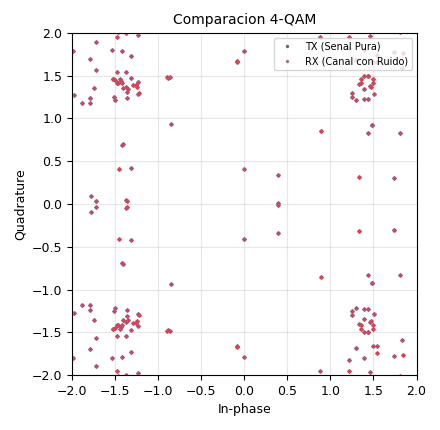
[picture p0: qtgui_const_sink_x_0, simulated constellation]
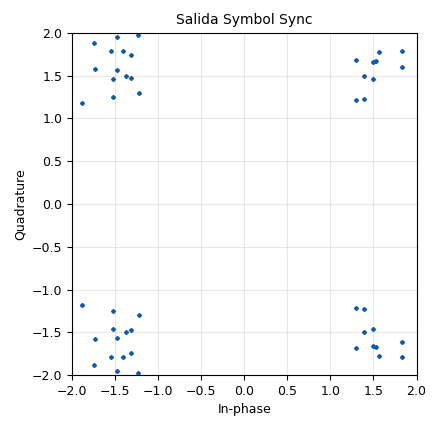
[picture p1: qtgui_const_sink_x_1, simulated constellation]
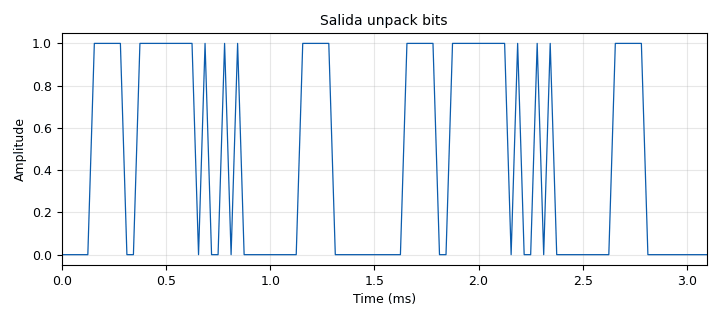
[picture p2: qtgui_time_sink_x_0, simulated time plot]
options:
  parameters:
    author: Juan Gerez Jimenez
    generate_options: qt_gui
    id: integrador_2026
    output_language: python
    title: integrador_2026
  states: {}

blocks:
- name: hdr_format
  id: variable_header_format_default
  parameters:
    access_code: '''1010101011110101'''
    bps: '8'
    threshold: '0'
  states: {}
- name: noise_var
  id: variable_qtgui_range
  parameters:
    label: Nivel de Ruido
    start: '0'
    step: '0.05'
    stop: '1'
    value: '0'
  states: {}
- name: qam4
  id: variable_constellation
  parameters:
    precision: '8'
    type: qpsk
  states: {}
- name: samp_rate
  id: variable
  parameters:
    value: '32000'
  states: {}
- name: blocks_char_to_float_0
  id: blocks_char_to_float
  parameters:
    scale: '1'
  states: {}
- name: blocks_message_debug_0
  id: blocks_message_debug
  parameters: {}
  states: {}
- name: blocks_message_debug_1
  id: blocks_message_debug
  parameters: {}
  states: {}
- name: blocks_message_strobe_0
  id: blocks_message_strobe
  parameters:
    msg: pmt.intern("TEST")
    period: '100'
  states: {}
- name: blocks_repack_bits_bb_2
  id: blocks_repack_bits_bb
  parameters:
    align_output: 'True'
    endianness: gr.GR_MSB_FIRST
    k: '1'
    l: '8'
    len_tag_key: '"frame_start"'
  states: {}
- name: blocks_tag_debug_0
  id: blocks_tag_debug
  parameters:
    name: '"Espia Correlador"'
    type: byte
  states: {state: disabled}
- name: blocks_tag_debug_1
  id: blocks_tag_debug
  parameters:
    name: '"salida demux"'
    type: byte
  states: {}
- name: blocks_unpack_k_bits_bb_0
  id: blocks_unpack_k_bits_bb
  parameters:
    k: '2'
  states: {}
- name: blocks_unpack_k_bits_bb_1
  id: blocks_unpack_k_bits_bb
  parameters:
    k: '8'
  states: {state: disabled}
- name: channels_channel_model_0
  id: channels_channel_model
  parameters:
    epsilon: '1.0'
    freq_offset: '0.0'
    noise_voltage: noise_var
    seed: '0'
    taps: '1.0'
  states: {}
- name: digital_constellation_decoder_cb_0
  id: digital_constellation_decoder_cb
  parameters:
    constellation: qam4
  states: {}
- name: digital_constellation_modulator_0
  id: digital_constellation_modulator
  parameters:
    constellation: qam4
    differential: 'True'
    excess_bw: '0.35'
    samples_per_symbol: '4'
  states: {}
- name: digital_correlate_access_code_xx_ts_0
  id: digital_correlate_access_code_xx_ts
  parameters:
    access_code: '''1010101011110101'''
    tagname: '"frame_start"'
    threshold: '2'
    type: byte
  states: {}
- name: digital_costas_loop_cc_0
  id: digital_costas_loop_cc
  parameters:
    order: '4'
    w: '0.0628'
  states: {}
- name: digital_crc32_bb_0
  id: digital_crc32_bb
  parameters:
    check: 'False'
    lengthtagname: '"packet_len"'
    packed: 'True'
  states: {}
- name: digital_crc32_bb_1
  id: digital_crc32_bb
  parameters:
    check: 'True'
    lengthtagname: '"packet_len"'
    packed: 'True'
  states: {}
- name: digital_diff_decoder_bb_0
  id: digital_diff_decoder_bb
  parameters:
    coding: digital.DIFF_DIFFERENTIAL
    modulus: '4'
  states: {}
- name: digital_header_payload_demux_0
  id: digital_header_payload_demux
  parameters:
    header_len: '4'
    header_padding: '0'
    items_per_symbol: '1'
    length_tag_key: '"packet_len"'
    output_symbols: 'False'
    samp_rate: samp_rate
    special_tags: ()
    timing_tag_key: '"rx_time"'
    trigger_tag_key: '"frame_start"'
    type: byte
  states: {}
- name: digital_map_bb_0
  id: digital_map_bb
  parameters:
    map: '[0, 1, 3, 2]'
  states: {}
- name: digital_packet_headerparser_b_default_0
  id: digital_packet_headerparser_b_default
  parameters:
    header_len: '32'
    len_tag_key: '"packet_len"'
  states: {}
- name: digital_protocol_formatter_bb_0
  id: digital_protocol_formatter_bb
  parameters:
    format: hdr_format
    len_tag_key: '"packet_len"'
  states: {}
- name: digital_symbol_sync_xx_0
  id: digital_symbol_sync_xx
  parameters:
    constellation: qam4.base()
    damping: '1.0'
    loop_bw: '0.045'
    max_dev: '1.5'
    osps: '1'
    resamp_type: digital.IR_MMSE_8TAP
    sps: '4'
    ted_gain: '1.0'
    ted_type: digital.TED_MUELLER_AND_MULLER
    type: cc
  states: {}
- name: pdu_pdu_to_tagged_stream_0
  id: pdu_pdu_to_tagged_stream
  parameters:
    tag: '"packet_len"'
    type: byte
  states: {}
- name: pdu_random_pdu_0
  id: pdu_random_pdu
  parameters:
    length_modulo: '1'
    mask: '0xFF'
    maxsize: '100'
    minsize: '100'
  states: {}
- name: pdu_tagged_stream_to_pdu_0
  id: pdu_tagged_stream_to_pdu
  parameters:
    tag: '"packet_len"'
    type: byte
  states: {}
- name: qtgui_const_sink_x_0
  id: qtgui_const_sink_x
  parameters:
    gui_hint: (0,0)
    label1: TX (Senal Pura)
    label2: RX (Canal con Ruido)
    name: '"Comparacion 4-QAM"'
    nconnections: '2'
    size: '1024'
    type: complex
  states: {}
- name: qtgui_const_sink_x_1
  id: qtgui_const_sink_x
  parameters:
    gui_hint: (0,1)
    name: '"Salida Symbol Sync"'
    size: '1024'
    type: complex
  states: {}
- name: qtgui_time_sink_x_0
  id: qtgui_time_sink_x
  parameters:
    autoscale: 'True'
    name: '"Salida unpack bits"'
    size: '100'
    srate: samp_rate
    type: float
  states: {}

connections:
- [blocks_char_to_float_0, '0', qtgui_time_sink_x_0, '0']
- [blocks_message_strobe_0, strobe, pdu_random_pdu_0, generate]
- [blocks_repack_bits_bb_2, '0', digital_header_payload_demux_0, '0']
- [blocks_unpack_k_bits_bb_0, '0', blocks_char_to_float_0, '0']
- [blocks_unpack_k_bits_bb_0, '0', digital_correlate_access_code_xx_ts_0, '0']
- [blocks_unpack_k_bits_bb_1, '0', digital_correlate_access_code_xx_ts_0, '0']
- [channels_channel_model_0, '0', digital_symbol_sync_xx_0, '0']
- [channels_channel_model_0, '0', qtgui_const_sink_x_0, '1']
- [digital_constellation_decoder_cb_0, '0', digital_diff_decoder_bb_0, '0']
- [digital_constellation_modulator_0, '0', channels_channel_model_0, '0']
- [digital_constellation_modulator_0, '0', qtgui_const_sink_x_0, '0']
- [digital_correlate_access_code_xx_ts_0, '0', blocks_repack_bits_bb_2, '0']
- [digital_correlate_access_code_xx_ts_0, '0', blocks_tag_debug_0, '0']
- [digital_costas_loop_cc_0, '0', digital_constellation_decoder_cb_0, '0']
- [digital_crc32_bb_0, '0', digital_protocol_formatter_bb_0, '0']
- [digital_crc32_bb_1, '0', pdu_tagged_stream_to_pdu_0, '0']
- [digital_diff_decoder_bb_0, '0', digital_map_bb_0, '0']
- [digital_header_payload_demux_0, '0', digital_packet_headerparser_b_default_0, '0']
- [digital_header_payload_demux_0, '1', blocks_tag_debug_1, '0']
- [digital_header_payload_demux_0, '1', digital_crc32_bb_1, '0']
- [digital_map_bb_0, '0', blocks_unpack_k_bits_bb_0, '0']
- [digital_packet_headerparser_b_default_0, header_data, blocks_message_debug_1, print]
- [digital_packet_headerparser_b_default_0, header_data, digital_header_payload_demux_0, header_data]
- [digital_protocol_formatter_bb_0, '0', blocks_unpack_k_bits_bb_1, '0']
- [digital_protocol_formatter_bb_0, '0', digital_constellation_modulator_0, '0']
- [digital_symbol_sync_xx_0, '0', digital_costas_loop_cc_0, '0']
- [digital_symbol_sync_xx_0, '0', qtgui_const_sink_x_1, '0']
- [pdu_pdu_to_tagged_stream_0, '0', digital_crc32_bb_0, '0']
- [pdu_random_pdu_0, pdus, pdu_pdu_to_tagged_stream_0, pdus]
- [pdu_tagged_stream_to_pdu_0, pdus, blocks_message_debug_0, print]

metadata:
  file_format: 1
  grc_version: 3.10.12.0
